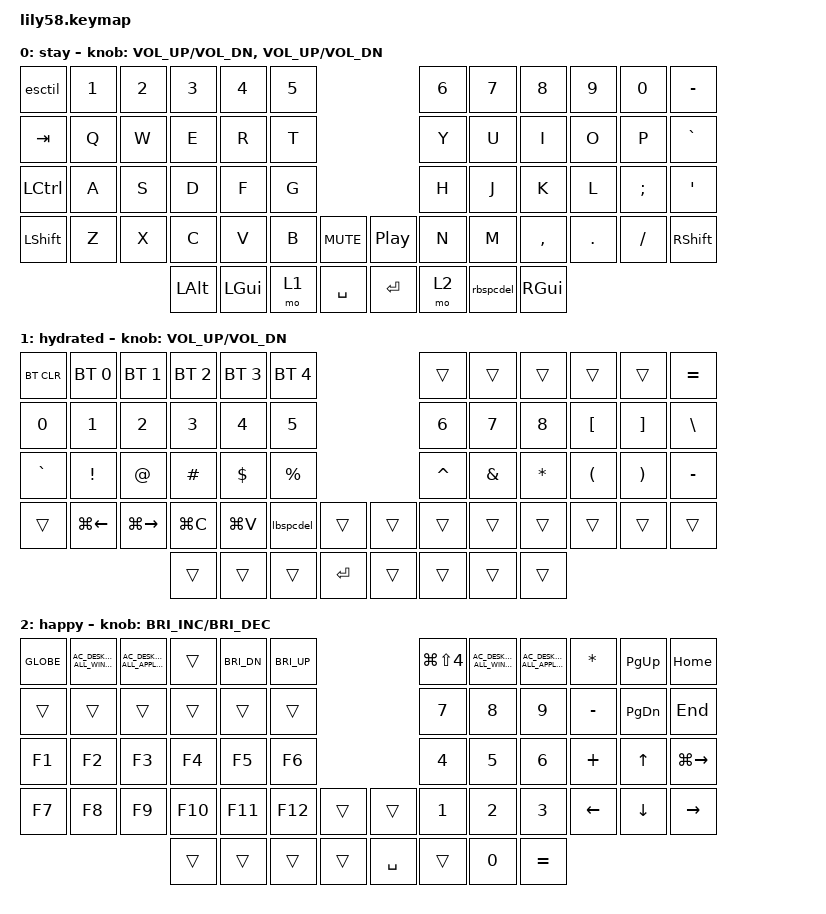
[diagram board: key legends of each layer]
/*
 * Copyright (c) 2020 The ZMK Contributors
 *
 * SPDX-License-Identifier: MIT
 */

#include <behaviors.dtsi>
#include <dt-bindings/zmk/keys.h>
#include <dt-bindings/zmk/bt.h>
#include <dt-bindings/zmk/ext_power.h>

/ {
	behaviors {
	        lbspcdel: lbackspace_delete {
	            compatible = "zmk,behavior-mod-morph";
	            #binding-cells = <0>;
	            bindings = <&kp BSPC>, <&kp DELETE>;
	            mods = <(MOD_LGUI)>;
	        };
	        rbspcdel: rbackspace_delete {
	            compatible = "zmk,behavior-mod-morph";
	            #binding-cells = <0>;
	            bindings = <&kp BSPC>, <&kp DELETE>;
	            mods = <(MOD_RGUI)>;
	        };
	        esctil: esc_tilde {
	            compatible = "zmk,behavior-mod-morph";
	            #binding-cells = <0>;
	            bindings = <&kp ESC>, <&kp TILDE>;
	            mods = <(MOD_LSFT|MOD_RSFT)>;
	        };
	    };

	keymap {
        compatible = "zmk,keymap";

        default_layer {
// ---------------------------------------------------------------------------------------------------------------
// |  ESC  |  1   |   2   |  3   |  4   |  5   |                   |  6    |  7    |  8    |  9    |   0   |   -   |
// |  TAB  |  Q   |   W   |  E   |  R   |  T   |                   |  Y    |  U    |  I    |  O    |   P   |   `   |
// |  CTRL |  A   |   S   |  D   |  F   |  G   |                   |  H    |  J    |  K    |  L    |   ;   |   '   |
// | SHIFT |  Z   |   X   |  C   |  V   |  B   |   MUTE |  |  PLAY |  N    |  M    |  ,    |  .    |   /   | SHIFT |
//                        | ALT  | GUI  | LOWER|  SPACE |  | ENTER | RAISE | BSPC  | GUI   |
            bindings = <
&esctil    &kp N1 &kp N2 &kp N3   &kp N4   &kp N5                     &kp N6 &kp N7    &kp N8    &kp N9  &kp N0   &kp MINUS
&kp TAB    &kp Q  &kp W  &kp E    &kp R    &kp T                      &kp Y  &kp U     &kp I     &kp O   &kp P    &kp GRAVE
&kp LCTRL  &kp A  &kp S  &kp D    &kp F    &kp G                      &kp H  &kp J     &kp K     &kp L   &kp SEMI &kp SQT
&kp LSHFT  &kp Z  &kp X  &kp C    &kp V    &kp B  &kp C_MUTE &kp C_PP &kp N  &kp M     &kp COMMA &kp DOT &kp FSLH &kp RSHFT
                         &kp LALT &kp LGUI &mo 1  &kp SPACE  &kp RET  &mo 2  &rbspcdel &kp RGUI
            >;

            sensor-bindings = <&inc_dec_kp C_VOL_UP C_VOL_DN &inc_dec_kp C_VOL_UP C_VOL_DN>;
			display-name = "stay";
        };

        lower_layer {
// ---------------------------------------------------------------------------------------------------------------
// | BTCLR |  BT1  | BT2  |  BT3 |  BT4 |  BT5 |                   |       |       |       |       |       |   =   |
// |   0   |   1   |  2   |  3   |  4   |  5   |                   |  6    |  7    |  8    |  "["  |  "]"  |   \   |
// |   `   |   !   |  @   |  #   |  $   |  %   |                   |  ^    |  &    |  *    |  (    |   )   |   -   |
// |       | START |  END | COPY | PASTE| BSPC |        |  |       |       |       |       |       |       |       |
//                        |      |      |      |  ENTER |  |       |       |       |       |
            bindings = <
&bt BT_CLR  &bt BT_SEL 0  &bt BT_SEL 1  &bt BT_SEL 2  &bt BT_SEL 3 &bt BT_SEL 4                  &trans    &trans    &trans    &trans    &trans    &kp EQUAL
&kp N0      &kp N1        &kp N2        &kp N3        &kp N4       &kp N5                        &kp N6    &kp N7    &kp N8    &kp LBKT  &kp RBKT  &kp BSLH
&kp GRAVE   &kp EXCL      &kp AT        &kp HASH      &kp DOLLAR   &kp PRCNT                     &kp CARET &kp AMPS  &kp ASTRK &kp LPAR  &kp RPAR  &kp MINUS
&trans      &kp LG(LEFT)  &kp LG(RIGHT) &kp LG(C)     &kp LG(V)    &lbspcdel  &trans   &trans    &trans    &trans    &trans    &trans    &trans    &trans
                                        &trans        &trans       &trans     &kp RET  &trans    &trans    &trans    &trans
            >;

            sensor-bindings = <&inc_dec_kp C_VOL_UP C_VOL_DN>;
			display-name = "hydrated";
        };

        raise_layer {
// ---------------------------------------------------------------------------------------------------------------
// | GLOBE | WINDOW| APPS |      |BRIGHT|  DIM |                   | PSCRN | WINDOW|  APPS |  *    | PG_UP |  HOME |
// |       |       |      |      |      |      |                   |  7    |   8   |   9   |  -    | PG_DN |  END  |
// |   F1  |   F2  |  F3  |  F4  |  F5  |  F6  |                   |  4    |   5   |   6   |  +    |   ^   |  END  |
// |   F7  |   F8  |  F9  |  F10 |  F11 |  F12 |        |  |       |  1    |   2   |   3   |  <-   |   v   |   ->  |
//                        |      |      |      |        |  | SPACE |       |   0   |   =   |
            bindings = <
&kp GLOBE &kp C_AC_DESKTOP_SHOW_ALL_WINDOWS &kp C_AC_DESKTOP_SHOW_ALL_APPLICATIONS &trans  &kp C_BRI_DN &kp C_BRI_UP                 &kp LG(LS(N4)) &kp C_AC_DESKTOP_SHOW_ALL_WINDOWS &kp C_AC_DESKTOP_SHOW_ALL_APPLICATIONS &kp ASTRK  &kp PG_UP &kp HOME
&trans    &trans &trans &trans  &trans       &trans                       &kp N7         &kp N8    &kp N9    &kp MINUS  &kp PG_DN &kp END
&kp F1    &kp F2 &kp F3 &kp F4  &kp F5       &kp F6                       &kp N4         &kp N5    &kp N6    &kp PLUS   &kp UP    &kp LG(RIGHT)
&kp F7    &kp F8 &kp F9 &kp F10 &kp F11      &kp F12   &trans   &trans    &kp N1         &kp N2    &kp N3    &kp LEFT   &kp DOWN  &kp RIGHT
                        &trans  &trans       &trans    &trans   &kp SPACE &trans        &kp N0    &kp EQUAL
            >;

            sensor-bindings = <&inc_dec_kp C_BRI_INC C_BRI_DEC>;
			display-name = "happy";
        };
    };
};
